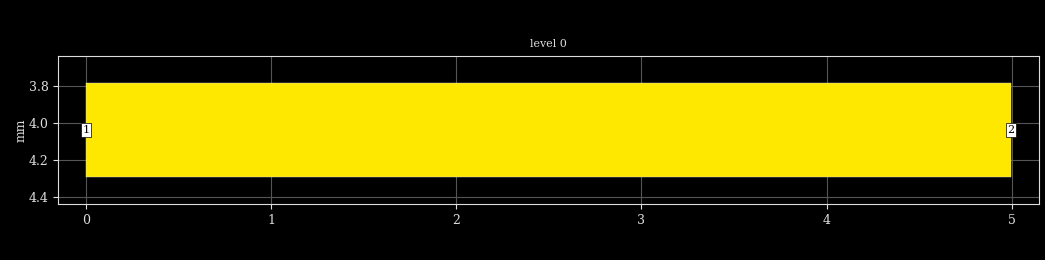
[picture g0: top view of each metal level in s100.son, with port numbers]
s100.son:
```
FTYP SONPROJ 19 ! Sonnet Project File
VER "18.53"
HEADER
LIC sonnetexample.0000
DAT 05/12/2021 21:10:29
BUILT_BY_CREATED example "18.53" 10/19/2021 01:59:07
BUILT_BY_SAVED example "18.53"
MDATE 10/25/2012 09:55:57
HDATE 10/25/2012 09:55:57
EXF
END HEADER
DIM
ANG DEG
CAP PF
CON /OH
FREQ GHZ
IND NH
LNG MM
RES OH
END DIM
CONTROL
VARSWP
OPTIONS  -d
SPEED 0
CACHE_ABS 1
Q_ACC N
END CONTROL
GEO
SYM
TMET "Lossless" 0 SUP 0 0 0 0
BMET "Lossless" 0 SUP 0 0 0 0
BOX 1 4.996541 8.0736925 256 512 20 0
      0.5 1 1 0 0 0 2 "Air"
      0.5 1 1 0 0 0 2 "Air"
LORGN 0 8.0736925 U 
POR1 STD
POLY 9 1
3
1 50 0 0 0 0 4.0368462 
POR1 STD
POLY 9 1
1
2 50 0 0 0 4.996541 4.0368462 
NUM 1
0 5 -1 N 9 1 1 100 100 0 0 0 Y
0 3.7845433
4.996541 3.7845433
4.996541 4.2891491
0 4.2891491
0 3.7845433
END
END GEO
OPT
MAX 100
END OPT
VARSWP
ENABLED Y
FREQ Y AN SWEEP 15.0
END
END VARSWP
```
